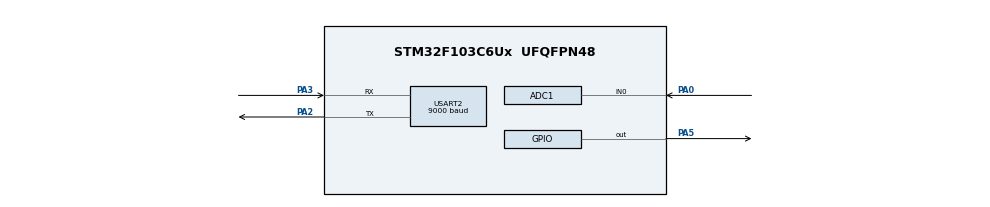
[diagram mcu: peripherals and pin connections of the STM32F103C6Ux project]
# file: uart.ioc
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ADC1.Channel-0\#ChannelRegularConversion=ADC_CHANNEL_0
ADC1.ContinuousConvMode=ENABLE
ADC1.NbrOfConversionFlag=1
ADC1.Rank-0\#ChannelRegularConversion=1
ADC1.SamplingTime-0\#ChannelRegularConversion=ADC_SAMPLETIME_1CYCLE_5
ADC1.master=1
Mcu.Family=STM32F1
Mcu.Name=STM32F103C6Ux
Mcu.Package=UFQFPN48
NVIC.PriorityGroup=NVIC_PRIORITYGROUP_4
NVIC.TIM2_IRQn=true\:0\:0\:false\:false\:true\:true\:true\:true
NVIC.USART2_IRQn=true\:0\:0\:false\:false\:true\:true\:true\:true
PA0-WKUP.Signal=ADCx_IN0
PA2.Mode=Asynchronous
PA2.Signal=USART2_TX
PA3.Mode=Asynchronous
PA3.Signal=USART2_RX
PA5.Signal=GPIO_Output
ProjectManager.HeapSize=0x200
ProjectManager.StackSize=0x400
ProjectManager.TargetToolchain=STM32CubeIDE
RCC.APB1Freq_Value=8000000
RCC.APB2Freq_Value=8000000
SH.ADCx_IN0.0=ADC1_IN0,IN0
USART2.BaudRate=9000
USART2.VirtualMode=VM_ASYNC
VP_TIM2_VS_ClockSourceINT.Mode=Internal
board=custom

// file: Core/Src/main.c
/* USER CODE BEGIN Header */
/**
  ******************************************************************************
  * @file           : main.c
  * @brief          : Main program body
  ******************************************************************************
  * @attention
  *
  * Copyright (c) 2023 STMicroelectronics.
  * All rights reserved.
  *
  * This software is licensed under terms that can be found in the LICENSE file
  * in the root directory of this software component.
  * If no LICENSE file comes with this software, it is provided AS-IS.
  *
  ******************************************************************************
  */
/* USER CODE END Header */
#include "main.h"
#include "stdio.h"
#include "string.h"
#include "timer.h"
/* USER CODE BEGIN Includes */
# define MAX_BUFFER_SIZE 30
/* USER CODE END Includes */

ADC_HandleTypeDef hadc1;

TIM_HandleTypeDef htim2;

UART_HandleTypeDef huart2;

void SystemClock_Config(void);
static void MX_GPIO_Init(void);
static void MX_USART2_UART_Init(void);
static void MX_ADC1_Init(void);
static void MX_TIM2_Init(void);

/* USER CODE BEGIN 0 */
uint8_t temp = 0;
uint8_t buffer [MAX_BUFFER_SIZE];
uint8_t index_buffer = 0;
uint8_t buffer_flag = 0;
uint8_t command_data[MAX_BUFFER_SIZE];
uint32_t ADC_value = 0;
uint8_t str[100];
uint8_t command_flag = 0;
void HAL_UART_RxCpltCallback( UART_HandleTypeDef* huart ) {
	if( huart-> Instance == USART2) {
		HAL_UART_Transmit(&huart2, &temp, 1, 50);
		buffer[index_buffer++] = temp;
		if( index_buffer == 30) index_buffer = 0;
		buffer_flag = 1;
		HAL_UART_Receive_IT (&huart2, &temp, 1);
	}
}

static enum ComState{START_CMD, RST, END_CMD};
static enum ComState comState = START_CMD;
void uart_communiation_fsm(){
	switch(comState){
	case START_CMD:
		if(command_flag == 1){
			if(strcmp(command_data, "RST") == 0){
				comState = RST;
			}
			command_flag = 0;
		}
		break;
	case RST:
		ADC_value = HAL_ADC_GetValue(&hadc1);
		sprintf(str, "\r\n!ADC=%d#", ADC_value);
		HAL_UART_Transmit(&huart2, str, sizeof(str), 1000);
		comState = END_CMD;
		setTimeOutTimer(3000);
		break;
	case END_CMD:
		if(command_flag == 1){
			if(strcmp(command_data, "OK") == 0){
				comState = START_CMD;
			}
			command_flag = 0;
		}else{
			if(getTimeOutFlag() == 1){
				comState = RST;
				setTimeOutTimer(3000);
			}
		}
		break;
	}
};

static enum CmdState{INIT, CONTENT, REINIT};
static enum CmdState cmdState = INIT;
void command_parser_fsm(){
	uint8_t size = sizeof(buffer);
	switch(cmdState){
	case INIT:
		if(temp == '!'){
			cmdState = CONTENT;
			HAL_GPIO_TogglePin(GPIOA, GPIO_PIN_5);
			memset(command_data, 0, sizeof(command_data));
		}
		memset(buffer, 0, size);
		index_buffer = 0;
		break;

	case CONTENT:
		if(index_buffer == 0 && size != 0){
			cmdState = INIT;
		}else if(buffer[index_buffer-1] == '#'){
			//cmdState = COMPLETE;
			cmdState = INIT;
			command_flag = 1;
			buffer[index_buffer-1] = 0;
			strcpy(command_data, buffer);
		}else if(buffer[index_buffer-1] == '!'){
			cmdState = REINIT;
		}
		break;
	case REINIT:
		memset(buffer, 0, size);
		index_buffer = 0;
		memset(command_data, 0, sizeof(command_data));
		cmdState = CONTENT;
		break;
	}

}

/* USER CODE END 0 */

int main(void)
{

  /* MCU Configuration--------------------------------------------------------*/

  /* Reset of all peripherals, Initializes the Flash interface and the Systick. */
  HAL_Init();

  /* Configure the system clock */
  SystemClock_Config();

  /* Initialize all configured peripherals */
  MX_GPIO_Init();
  MX_USART2_UART_Init();
  MX_ADC1_Init();
  MX_TIM2_Init();
  timerInit(htim2.Init.Prescaler, htim2.Init.Period);
  /* USER CODE BEGIN 2 */
  HAL_TIM_Base_Start_IT(&htim2);
  HAL_UART_Receive_IT(&huart2, &temp, 1);
    /* USER CODE END 2 */

    /* Infinite loop */
    while (1)
    {
  	  if( buffer_flag == 1) {
  		  command_parser_fsm();
  		  buffer_flag = 0;
  	  }
//  	  if(command_flag == 1){
//  		HAL_UART_Transmit (&huart2 , &command_data , sizeof(command_data), 50);
//  		command_flag = 0;
//  	  }
  	  uart_communiation_fsm();

//    	ADC_value = HAL_ADC_GetValue(&hadc1);
//    	HAL_UART_Transmit (&huart2, (void*)str, sprintf(str, "%d\r\n"
//    	,ADC_value), 1000);
//  	HAL_Delay(1000);
    }
}

void SystemClock_Config(void)
{
  RCC_OscInitTypeDef RCC_OscInitStruct = {0};
  RCC_ClkInitTypeDef RCC_ClkInitStruct = {0};
  RCC_PeriphCLKInitTypeDef PeriphClkInit = {0};

  /** Initializes the RCC Oscillators according to the specified parameters
  * in the RCC_OscInitTypeDef structure.
  */
  RCC_OscInitStruct.OscillatorType = RCC_OSCILLATORTYPE_HSI;
  RCC_OscInitStruct.HSIState = RCC_HSI_ON;
  RCC_OscInitStruct.HSICalibrationValue = RCC_HSICALIBRATION_DEFAULT;
  RCC_OscInitStruct.PLL.PLLState = RCC_PLL_NONE;
  if (HAL_RCC_OscConfig(&RCC_OscInitStruct) != HAL_OK)
  {
    Error_Handler();
  }

  /** Initializes the CPU, AHB and APB buses clocks
  */
  RCC_ClkInitStruct.ClockType = RCC_CLOCKTYPE_HCLK|RCC_CLOCKTYPE_SYSCLK
                              |RCC_CLOCKTYPE_PCLK1|RCC_CLOCKTYPE_PCLK2;
  RCC_ClkInitStruct.SYSCLKSource = RCC_SYSCLKSOURCE_HSI;
  RCC_ClkInitStruct.AHBCLKDivider = RCC_SYSCLK_DIV1;
  RCC_ClkInitStruct.APB1CLKDivider = RCC_HCLK_DIV1;
  RCC_ClkInitStruct.APB2CLKDivider = RCC_HCLK_DIV1;

  if (HAL_RCC_ClockConfig(&RCC_ClkInitStruct, FLASH_LATENCY_0) != HAL_OK)
  {
    Error_Handler();
  }
  PeriphClkInit.PeriphClockSelection = RCC_PERIPHCLK_ADC;
  PeriphClkInit.AdcClockSelection = RCC_ADCPCLK2_DIV2;
  if (HAL_RCCEx_PeriphCLKConfig(&PeriphClkInit) != HAL_OK)
  {
    Error_Handler();
  }
}

static void MX_ADC1_Init(void)
{

  ADC_ChannelConfTypeDef sConfig = {0};

  /** Common config
  */
  hadc1.Instance = ADC1;
  hadc1.Init.ScanConvMode = ADC_SCAN_DISABLE;
  hadc1.Init.ContinuousConvMode = ENABLE;
  hadc1.Init.DiscontinuousConvMode = DISABLE;
  hadc1.Init.ExternalTrigConv = ADC_SOFTWARE_START;
  hadc1.Init.DataAlign = ADC_DATAALIGN_RIGHT;
  hadc1.Init.NbrOfConversion = 1;
  if (HAL_ADC_Init(&hadc1) != HAL_OK)
  {
    Error_Handler();
  }

  /** Configure Regular Channel
  */
  sConfig.Channel = ADC_CHANNEL_0;
  sConfig.Rank = ADC_REGULAR_RANK_1;
  sConfig.SamplingTime = ADC_SAMPLETIME_1CYCLE_5;
  if (HAL_ADC_ConfigChannel(&hadc1, &sConfig) != HAL_OK)
  {
    Error_Handler();
  }

}

static void MX_TIM2_Init(void)
{

  TIM_ClockConfigTypeDef sClockSourceConfig = {0};
  TIM_MasterConfigTypeDef sMasterConfig = {0};

  htim2.Instance = TIM2;
  htim2.Init.Prescaler = 7999;
  htim2.Init.CounterMode = TIM_COUNTERMODE_UP;
  htim2.Init.Period = 9;
  htim2.Init.ClockDivision = TIM_CLOCKDIVISION_DIV1;
  htim2.Init.AutoReloadPreload = TIM_AUTORELOAD_PRELOAD_DISABLE;
  if (HAL_TIM_Base_Init(&htim2) != HAL_OK)
  {
    Error_Handler();
  }
  sClockSourceConfig.ClockSource = TIM_CLOCKSOURCE_INTERNAL;
  if (HAL_TIM_ConfigClockSource(&htim2, &sClockSourceConfig) != HAL_OK)
  {
    Error_Handler();
  }
  sMasterConfig.MasterOutputTrigger = TIM_TRGO_RESET;
  sMasterConfig.MasterSlaveMode = TIM_MASTERSLAVEMODE_DISABLE;
  if (HAL_TIMEx_MasterConfigSynchronization(&htim2, &sMasterConfig) != HAL_OK)
  {
    Error_Handler();
  }

}

static void MX_USART2_UART_Init(void)
{

  huart2.Instance = USART2;
  huart2.Init.BaudRate = 9600;
  huart2.Init.WordLength = UART_WORDLENGTH_8B;
  huart2.Init.StopBits = UART_STOPBITS_1;
  huart2.Init.Parity = UART_PARITY_NONE;
  huart2.Init.Mode = UART_MODE_TX_RX;
  huart2.Init.HwFlowCtl = UART_HWCONTROL_NONE;
  huart2.Init.OverSampling = UART_OVERSAMPLING_16;
  if (HAL_UART_Init(&huart2) != HAL_OK)
  {
    Error_Handler();
  }

}

static void MX_GPIO_Init(void)
{
  GPIO_InitTypeDef GPIO_InitStruct = {0};

  /* GPIO Ports Clock Enable */
  __HAL_RCC_GPIOA_CLK_ENABLE();

  /*Configure GPIO pin Output Level */
  HAL_GPIO_WritePin(GPIOA, GPIO_PIN_5, GPIO_PIN_RESET);

  /*Configure GPIO pin : PA5 */
  GPIO_InitStruct.Pin = GPIO_PIN_5;
  GPIO_InitStruct.Mode = GPIO_MODE_OUTPUT_PP;
  GPIO_InitStruct.Pull = GPIO_NOPULL;
  GPIO_InitStruct.Speed = GPIO_SPEED_FREQ_LOW;
  HAL_GPIO_Init(GPIOA, &GPIO_InitStruct);

}

void Error_Handler(void)
{
  __disable_irq();
  while (1)
  {
  }
}
